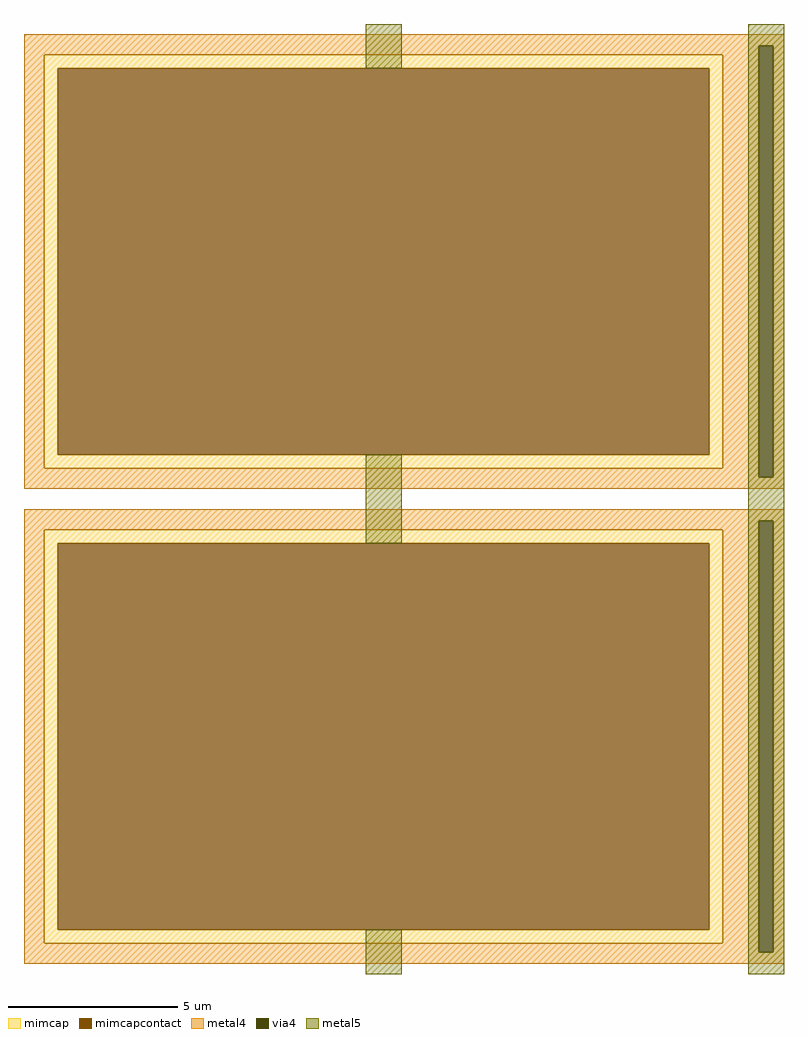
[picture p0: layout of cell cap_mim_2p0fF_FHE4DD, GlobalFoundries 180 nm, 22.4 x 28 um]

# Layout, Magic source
magic
tech gf180mcuD
magscale 1 10
<< mimcap >>
rect -2120 2540 1880 2620
rect -2120 260 -2040 2540
rect 1800 260 1880 2540
rect -2120 180 1880 260
rect -2120 -260 1880 -180
rect -2120 -2540 -2040 -260
rect 1800 -2540 1880 -260
rect -2120 -2620 1880 -2540
<< mimcapcontact >>
rect -2040 260 1800 2540
rect -2040 -2540 1800 -260
<< metal4 >>
rect -2240 2673 2240 2740
rect -2240 2620 2090 2673
rect -2240 180 -2120 2620
rect 1880 180 2090 2620
rect -2240 127 2090 180
rect 2178 127 2240 2673
rect -2240 60 2240 127
rect -2240 -127 2240 -60
rect -2240 -180 2090 -127
rect -2240 -2620 -2120 -180
rect 1880 -2620 2090 -180
rect -2240 -2673 2090 -2620
rect 2178 -2673 2240 -127
rect -2240 -2740 2240 -2673
<< via4 >>
rect 2090 127 2178 2673
rect 2090 -2673 2178 -127
<< metal5 >>
rect -226 2540 -14 2800
rect 2028 2673 2240 2800
rect -226 -260 -14 260
rect 2028 127 2090 2673
rect 2178 127 2240 2673
rect 2028 -127 2240 127
rect -226 -2800 -14 -2540
rect 2028 -2673 2090 -127
rect 2178 -2673 2240 -127
rect 2028 -2800 2240 -2673
<< properties >>
string FIXED_BBOX -2240 60 2000 2740
string gencell cap_mim_2p0fF
string library gf180mcu
string parameters w 20.0 l 12.2 val 7.388k carea 25.00 cperi 20.00 class capacitor nx 1 ny 2 dummy 0 square 0 lmin 5.00 wmin 5.00 lmax 100.0 wmax 100.0 dc 0 bconnect 1 tconnect 1
<< end >>
